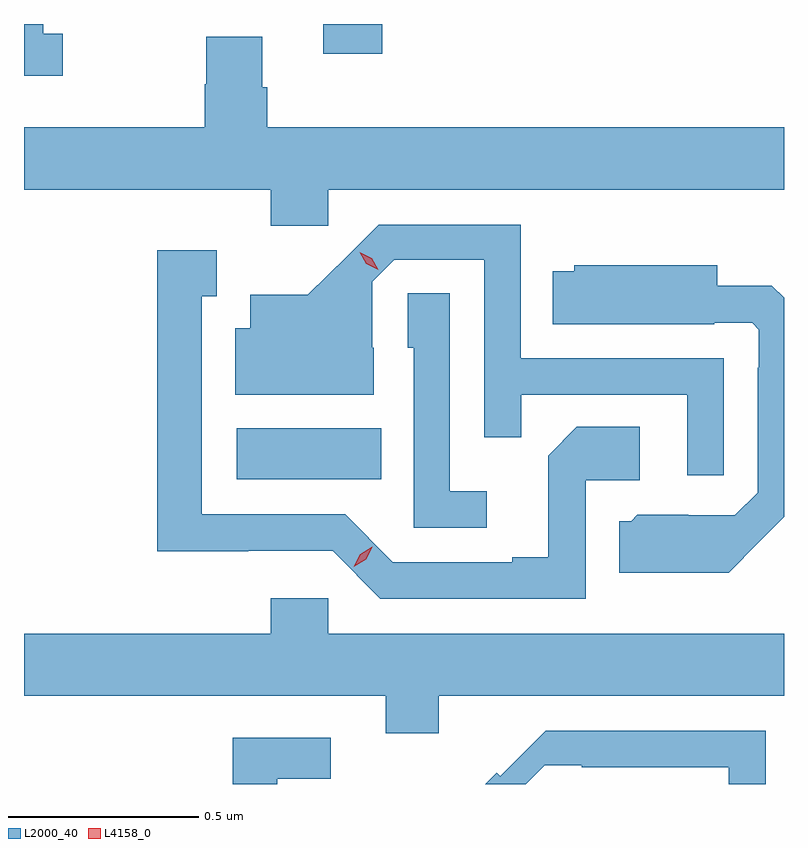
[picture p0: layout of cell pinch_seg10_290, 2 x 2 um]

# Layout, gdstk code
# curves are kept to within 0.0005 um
import gdstk
lib = gdstk.Library(unit=1e-6, precision=1e-09)
def R(c, l, rs):  # rectangles x0, y0, x1, y1
    for r in rs: c.add(gdstk.rectangle(r[:2], r[2:], *l))
def P(c, l, *ps):  # polygons
    for p in ps: c.add(gdstk.Polygon(p, *l))
L2000_40 = (2000, 40)
L4158_0 = (4158, 0)

pinch_seg10_290 = lib.new_cell('pinch_seg10_290')
R(pinch_seg10_290, L2000_40, [(507.894,1315.538,508.274,1315.672), (508.121,1316.658,508.277,1316.736)])
P(pinch_seg10_290, L2000_40, [(507.436,1316.71),(507.384,1316.71),(507.384,1316.736),(507.334,1316.736),(507.334,1316.6),(507.436,1316.6)],
  [(508.134,1316.3),(509.334,1316.3),(509.334,1316.464),(507.974,1316.464),(507.974,1316.57),(507.961,1316.57),(507.961,1316.702),(507.814,1316.702),(507.814,1316.577),(507.809,1316.577),(507.809,1316.464),(507.334,1316.464),(507.334,1316.3),(507.983,1316.3),(507.983,1316.205),(508.134,1316.205)],
  [(509.175,1315.857),(508.641,1315.857),(508.641,1316.208),(508.268,1316.208),(508.081,1316.023),(507.929,1316.023),(507.929,1315.936),(507.89,1315.936),(507.89,1315.76),(508.255,1315.76),(508.255,1315.884),(508.251,1315.884),(508.251,1316.058),(508.308,1316.115),(508.545,1316.115),(508.545,1315.648),(508.643,1315.648),(508.643,1315.761),(509.079,1315.761),(509.079,1315.548),(509.175,1315.548)],
  [(508.812,1315.536),(508.954,1315.536),(508.954,1315.676),(508.789,1315.676),(508.713,1315.6),(508.713,1315.333),(508.619,1315.333),(508.619,1315.32),(508.305,1315.32),(508.179,1315.446),(507.802,1315.446),(507.802,1316.019),(507.841,1316.019),(507.841,1316.14),(507.684,1316.14),(507.684,1315.349),(507.924,1315.349),(507.924,1315.35),(508.146,1315.35),(508.272,1315.224),(508.812,1315.224)],
  [(509.269,1315.373),(509.334,1315.439),(509.334,1316.015),(509.302,1316.047),(509.158,1316.047),(509.158,1316.101),(508.782,1316.101),(508.782,1316.086),(508.726,1316.086),(508.726,1315.946),(509.15,1315.946),(509.15,1315.95),(509.25,1315.95),(509.268,1315.932),(509.268,1315.832),(509.265,1315.832),(509.265,1315.503),(509.205,1315.443),(509.082,1315.443),(509.082,1315.444),(508.948,1315.444),(508.932,1315.428),(508.901,1315.428),(508.901,1315.292),(509.189,1315.292)],
  [(508.552,1315.507),(508.455,1315.507),(508.455,1316.027),(508.344,1316.027),(508.344,1315.884),(508.359,1315.884),(508.359,1315.41),(508.552,1315.41)],
  [(508.426,1314.968),(509.334,1314.968),(509.334,1315.132),(508.134,1315.132),(508.134,1315.225),(507.983,1315.225),(507.983,1315.132),(507.334,1315.132),(507.334,1314.968),(508.286,1314.968),(508.286,1314.869),(508.426,1314.869)],
  [(508.705,1314.786),(508.802,1314.786),(508.802,1314.78),(509.189,1314.78),(509.189,1314.736),(509.286,1314.736),(509.286,1314.876),(508.707,1314.876),(508.587,1314.756),(508.578,1314.766),(508.548,1314.736),(508.655,1314.736)],
  [(508.001,1314.75),(508.141,1314.75),(508.141,1314.858),(507.883,1314.858),(507.883,1314.736),(508.001,1314.736)])
P(pinch_seg10_290, L4158_0, [(508.266,1316.089),(508.235,1316.105),(508.218,1316.135),(508.218,1316.135),(508.218,1316.135),(508.249,1316.119),(508.266,1316.089),(508.266,1316.089)],
  [(508.202,1315.308),(508.202,1315.308),(508.219,1315.341),(508.25,1315.361),(508.251,1315.361),(508.251,1315.361),(508.234,1315.328),(508.202,1315.308)])

lib.write_gds('pinch_seg10_290.gds')
